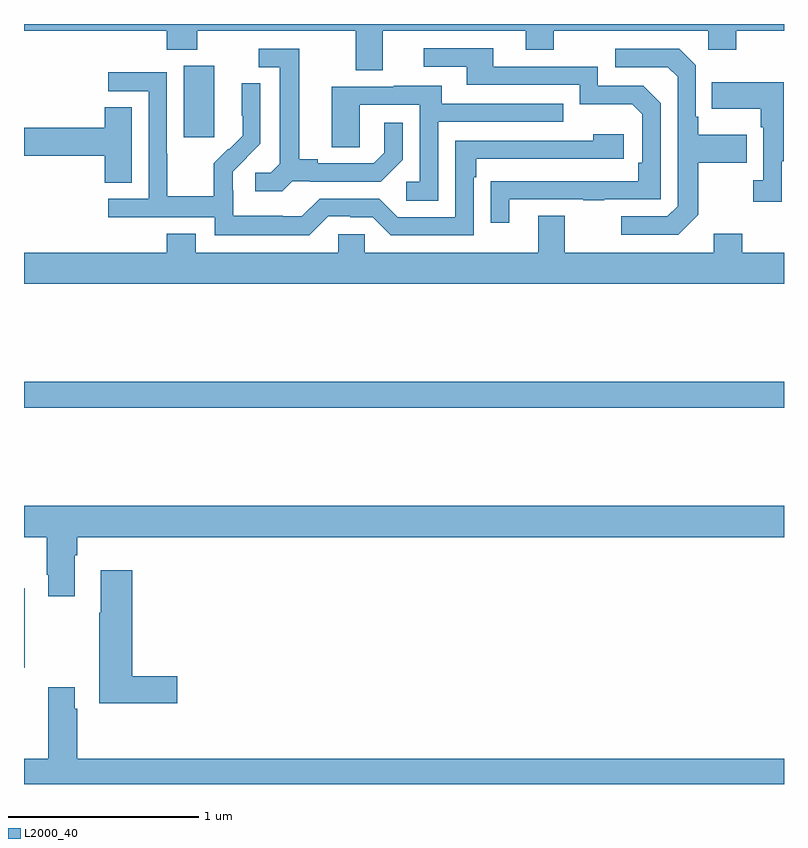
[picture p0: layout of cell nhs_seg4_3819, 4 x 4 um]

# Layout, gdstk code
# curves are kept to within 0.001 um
import gdstk
lib = gdstk.Library(unit=1e-6, precision=1e-09)
def R(c, l, rs):  # rectangles x0, y0, x1, y1
    for r in rs: c.add(gdstk.rectangle(r[:2], r[2:], *l))
def P(c, l, *ps):  # polygons
    for p in ps: c.add(gdstk.Polygon(p, *l))
L2000_40 = (2000, 40)

nhs_seg4_3819 = lib.new_cell('nhs_seg4_3819')
R(nhs_seg4_3819, L2000_40, [(313,749.513,313.003,749.929), (313,750.88,317,751.016), (313.841,752.304,314.002,752.68)])
P(nhs_seg4_3819, L2000_40, [(314.887,752.864),(315.641,752.864),(315.641,752.765),(315.789,752.765),(315.789,752.864),(316.602,752.864),(316.602,752.765),(316.749,752.765),(316.749,752.864),(317,752.864),(317,752.9),(313,752.9),(313,752.864),(313.751,752.864),(313.751,752.765),(313.911,752.765),(313.911,752.864),(314.747,752.864),(314.747,752.656),(314.887,752.656)],
  [(315.553,751.977),(315.943,751.977),(315.943,751.972),(316.055,751.972),(316.055,751.977),(316.35,751.977),(316.35,752.484),(316.26,752.574),(316.02,752.574),(316.02,752.676),(315.469,752.676),(315.469,752.772),(315.105,752.772),(315.105,752.676),(315.329,752.676),(315.329,752.58),(315.924,752.58),(315.924,752.477),(316.201,752.477),(316.254,752.424),(316.254,752.17),(316.234,752.17),(316.234,752.073),(315.457,752.072),(315.457,751.854),(315.553,751.854)],
  [(314.412,752.073),(314.506,752.073),(314.506,752.07),(314.878,752.07),(314.994,752.186),(314.994,752.38),(314.897,752.38),(314.897,752.223),(314.84,752.166),(314.545,752.166),(314.545,752.189),(314.449,752.189),(314.449,752.769),(314.235,752.769),(314.235,752.673),(314.345,752.673),(314.345,752.165),(314.298,752.118),(314.217,752.118),(314.217,752.021),(314.36,752.021)],
  [(316.549,751.897),(316.549,752.17),(316.805,752.17),(316.805,752.317),(316.549,752.317),(316.549,752.413),(316.536,752.413),(316.536,752.682),(316.449,752.769),(316.113,752.769),(316.113,752.673),(316.389,752.673),(316.44,752.622),(316.44,751.941),(316.386,751.887),(316.143,751.887),(316.143,751.791),(316.443,751.791)],
  [(314.601,751.887),(314.717,751.887),(314.717,751.884),(314.835,751.884),(314.931,751.788),(315.366,751.788),(315.366,752.093),(315.379,752.093),(315.379,752.19),(316.156,752.19),(316.156,752.32),(315.995,752.32),(315.995,752.286),(315.27,752.286),(315.27,751.884),(314.967,751.884),(314.871,751.98),(314.556,751.98),(314.463,751.887),(314.363,751.887),(314.363,751.891),(314.1,751.891),(314.1,752.025),(314.098,752.025),(314.098,752.122),(314.244,752.27),(314.244,752.588),(314.147,752.588),(314.147,752.416),(314.15,752.416),(314.15,752.312),(314.079,752.241),(314.076,752.244),(313.999,752.167),(313.999,751.993),(313.755,751.993),(313.755,752.216),(313.752,752.216),(313.752,752.646),(313.443,752.646),(313.443,752.547),(313.656,752.547),(313.656,751.98),(313.443,751.98),(313.443,751.884),(314.004,751.884),(314.004,751.787),(314.501,751.787)],
  [(316.987,752.177),(316.999,752.177),(316.999,752.593),(316.621,752.593),(316.621,752.453),(316.878,752.453),(316.878,752.357),(316.89,752.357),(316.89,752.078),(316.839,752.078),(316.839,751.965),(316.987,751.965)],
  [(315.18,752.385),(315.839,752.385),(315.839,752.481),(315.199,752.481),(315.199,752.575),(314.945,752.575),(314.945,752.571),(314.621,752.571),(314.621,752.251),(314.766,752.251),(314.766,752.475),(315.084,752.475),(315.084,752.07),(315.012,752.07),(315.012,751.969),(315.18,751.969)],
  [(313.567,752.462),(313.424,752.462),(313.424,752.354),(313,752.354),(313,752.207),(313.424,752.207),(313.424,752.065),(313.567,752.065)],
  [(317,751.696),(316.779,751.696),(316.779,751.795),(316.631,751.795),(316.631,751.696),(315.847,751.696),(315.847,751.891),(315.707,751.891),(315.707,751.696),(314.793,751.696),(314.793,751.794),(314.655,751.794),(314.655,751.696),(313.903,751.696),(313.903,751.795),(313.751,751.795),(313.751,751.696),(313,751.696),(313,751.532),(317,751.532)],
  [(313.267,750.104),(313.28,750.104),(313.28,750.2),(317,750.2),(317,750.364),(313,750.364),(313,750.2),(313.12,750.2),(313.12,750.001),(313.127,750.001),(313.127,749.889),(313.267,749.889)],
  [(313.807,749.468),(313.571,749.468),(313.571,750.025),(313.403,750.025),(313.403,749.801),(313.396,749.801),(313.396,749.326),(313.807,749.326)],
  [(317,749.032),(313.28,749.032),(313.28,749.297),(313.267,749.297),(313.267,749.41),(313.127,749.41),(313.127,749.032),(313,749.032),(313,748.9),(317,748.9)])

lib.write_gds('nhs_seg4_3819.gds')
